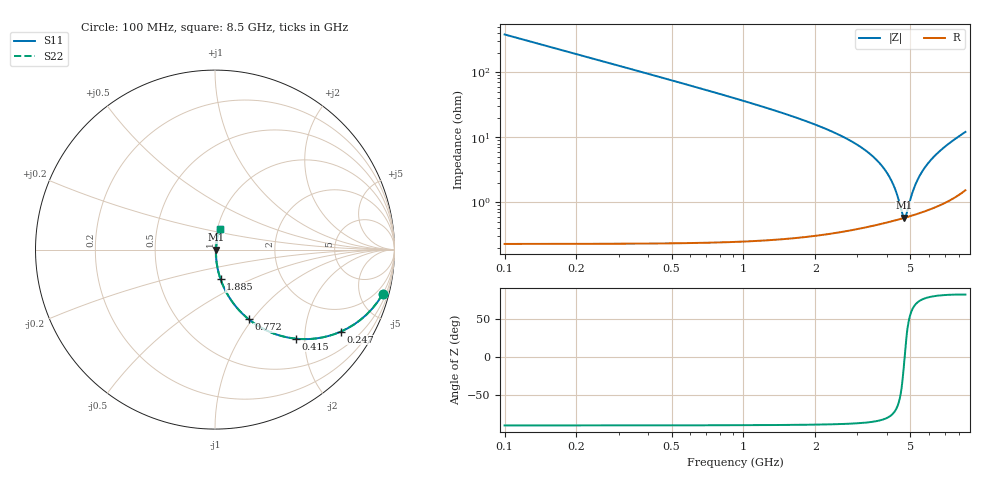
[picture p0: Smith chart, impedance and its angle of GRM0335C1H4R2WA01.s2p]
!Murata Part Number: GRM0335C1H4R2WA01
!These Parameters are Measured in Series Mode Connection
!Data Generated on Mar 30, 2021
!  o--ll--o
!Port1  Port2
!  o------o
!Operation Temp=25[degC], DC Bias Voltage=0[V]
!Freq. Start=100[MHz] Stop=9[GHz] 401[Steps]
# Hz S RI R 50
!Freq.(Hz) S11(Real) S11(Imag) S21(Real) S21(Imag) S12(Real) S12(Imag) S22(Real) S22(Imag)
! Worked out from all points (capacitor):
!   401 points, 100 MHz to 8.5 GHz, reference 50 ohm
!   read as one part in series: C = 4.2 pF near 142 MHz
!   lowest |Z| = 580 mohm at 4.72 GHz (marker M1)
!   series resonance near 4.73 GHz, so ESL is about 270 pH
!   S11 on the Smith chart (normalised r, x): 100 MHz: 1.00, -7.58; 247 MHz: 1.00, -3.06; 415 MHz: 1.00, -1.81; 772 MHz: 1.00, -0.96; 1.885 GHz: 1.01, -0.34; 8.5 GHz: 1.03, +0.24
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1e8  0.9347 -0.2467  0.0653 0.2467  0.0653 0.2467  0.9347 -0.2467
1.84e8  0.8085 -0.3929  0.1915 0.3929  0.1915 0.3929  0.8085 -0.3929
2.47e8  0.7004 -0.4573  0.2996 0.4573  0.2996 0.4573  0.7004 -0.4573
4.15e8  0.4511 -0.4963  0.5489 0.4963  0.5489 0.4963  0.4511 -0.4963
5.83e8  0.2915 -0.4526  0.7085 0.4526  0.7085 0.4526  0.2915 -0.4526
7.72e8  0.1873 -0.3876  0.8127 0.3876  0.8127 0.3876  0.1873 -0.3876
1.066e9  0.1042 -0.3019  0.8958 0.3019  0.8958 0.3019  0.1042 -0.3019
1.507e9  0.0512 -0.2143  0.9488 0.2143  0.9488 0.2143  0.0512 -0.2143
1.885e9  0.0308 -0.1641  0.9692 0.1641  0.9692 0.1641  0.0308 -0.1641
2.914e9  0.0103 -0.0805  0.9897 0.0805  0.9897 0.0805  0.0103 -0.0805
3.775e9  0.00602 -0.0368  0.994 0.0368  0.994 0.0368  0.00602 -0.0368
4.069e9  0.00558 -0.0246  0.9944 0.0246  0.9944 0.0246  0.00558 -0.0246
4.3e9  0.00548 -0.0156  0.9945 0.0156  0.9945 0.0156  0.00548 -0.0156
4.636e9  0.00566 -0.00328  0.9943 0.00328  0.9943 0.00328  0.00566 -0.00328
4.72e9  0.00575 -0.000334  0.9942 0.000334  0.9942 0.000334  0.00575 -0.000334
4.804e9  0.00587 0.00257  0.9941 -0.00257  0.9941 -0.00257  0.00587 0.00257
5.035e9  0.00628 0.0104  0.9937 -0.0104  0.9937 -0.0104  0.00628 0.0104
5.224e9  0.00671 0.0165  0.9933 -0.0165  0.9933 -0.0165  0.00671 0.0165
5.707e9  0.00818 0.0317  0.9918 -0.0317  0.9918 -0.0317  0.00818 0.0317
6.295e9  0.0107 0.0493  0.9893 -0.0493  0.9893 -0.0493  0.0107 0.0493
7.114e9  0.0155 0.0733  0.9845 -0.0733  0.9845 -0.0733  0.0155 0.0733
8.5e9  0.0286 0.1146  0.9714 -0.1146  0.9714 -0.1146  0.0286 0.1146
